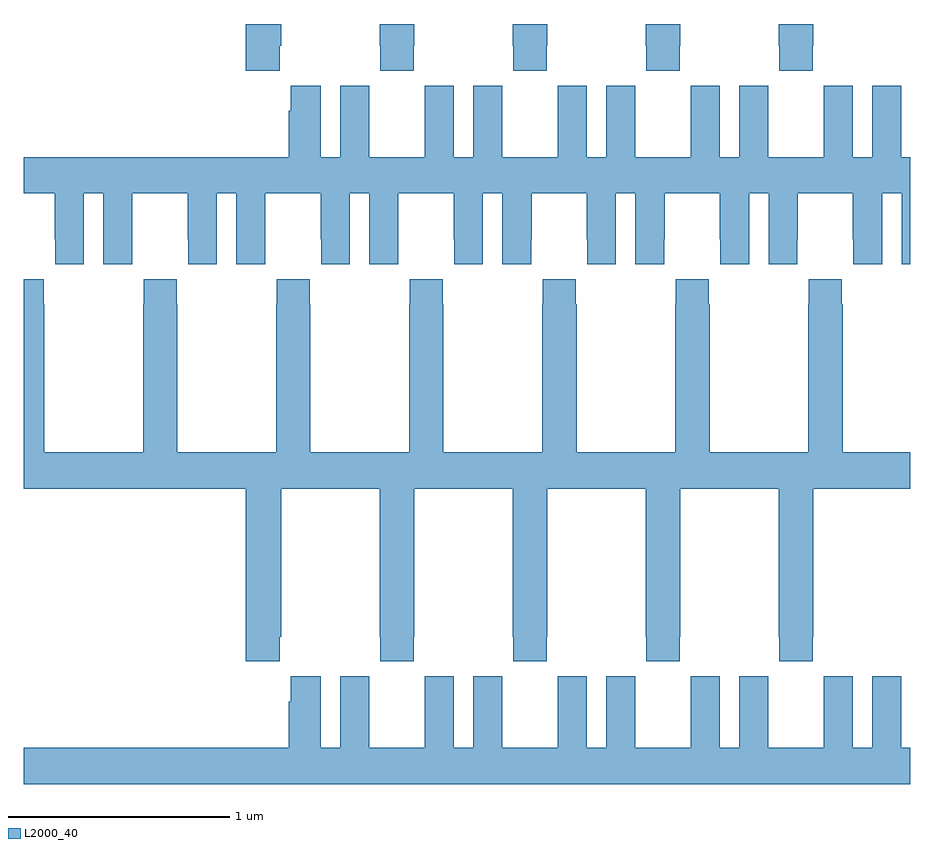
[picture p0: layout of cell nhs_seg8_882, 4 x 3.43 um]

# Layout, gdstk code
import gdstk
lib = gdstk.Library(unit=1e-6, precision=1e-09)
def P(c, l, *ps):  # polygons
    for p in ps: c.add(gdstk.Polygon(p, *l))
L2000_40 = (2000, 40)

nhs_seg8_882 = lib.new_cell('nhs_seg8_882')
P(nhs_seg8_882, L2000_40, [(169.959,1147.801),(169.962,1147.801),(169.962,1147.9),(169.807,1147.9),(169.807,1147.801),(169.809,1147.801),(169.809,1147.689),(169.959,1147.689)],
  [(170.559,1147.801),(170.562,1147.801),(170.562,1147.9),(170.407,1147.9),(170.407,1147.801),(170.409,1147.801),(170.409,1147.689),(170.559,1147.689)],
  [(168.155,1147.801),(168.162,1147.801),(168.162,1147.9),(168.002,1147.9),(168.002,1147.689),(168.155,1147.689)],
  [(168.759,1147.801),(168.762,1147.801),(168.762,1147.9),(168.607,1147.9),(168.607,1147.801),(168.609,1147.801),(168.609,1147.689),(168.759,1147.689)],
  [(169.359,1147.801),(169.362,1147.801),(169.362,1147.9),(169.207,1147.9),(169.207,1147.801),(169.209,1147.801),(169.209,1147.689),(169.359,1147.689)],
  [(167.272,1147.136),(167.36,1147.136),(167.36,1146.816),(167.49,1146.816),(167.49,1146.928),(167.491,1146.928),(167.491,1147.136),(167.741,1147.136),(167.741,1146.928),(167.742,1146.928),(167.742,1146.816),(167.872,1146.816),(167.872,1147.136),(167.96,1147.136),(167.96,1146.816),(168.09,1146.816),(168.09,1146.928),(168.091,1146.928),(168.091,1147.136),(168.341,1147.136),(168.341,1146.928),(168.342,1146.928),(168.342,1146.816),(168.472,1146.816),(168.472,1147.136),(168.56,1147.136),(168.56,1146.816),(168.69,1146.816),(168.69,1146.928),(168.691,1146.928),(168.691,1147.136),(168.941,1147.136),(168.941,1146.928),(168.942,1146.928),(168.942,1146.816),(169.072,1146.816),(169.072,1147.136),(169.16,1147.136),(169.16,1146.816),(169.29,1146.816),(169.29,1146.928),(169.291,1146.928),(169.291,1147.136),(169.541,1147.136),(169.541,1146.928),(169.542,1146.928),(169.542,1146.816),(169.672,1146.816),(169.672,1147.136),(169.76,1147.136),(169.76,1146.816),(169.89,1146.816),(169.89,1146.928),(169.891,1146.928),(169.891,1147.136),(170.141,1147.136),(170.141,1146.928),(170.142,1146.928),(170.142,1146.816),(170.272,1146.816),(170.272,1147.136),(170.36,1147.136),(170.36,1146.816),(170.49,1146.816),(170.49,1146.928),(170.491,1146.928),(170.491,1147.136),(170.741,1147.136),(170.741,1146.928),(170.742,1146.928),(170.742,1146.816),(170.872,1146.816),(170.872,1147.136),(170.96,1147.136),(170.96,1146.816),(171,1146.816),(171,1147.3),(170.959,1147.3),(170.959,1147.508),(170.958,1147.508),(170.958,1147.621),(170.828,1147.621),(170.828,1147.3),(170.74,1147.3),(170.74,1147.621),(170.61,1147.621),(170.61,1147.508),(170.609,1147.508),(170.609,1147.3),(170.359,1147.3),(170.359,1147.508),(170.358,1147.508),(170.358,1147.621),(170.228,1147.621),(170.228,1147.3),(170.14,1147.3),(170.14,1147.621),(170.01,1147.621),(170.01,1147.508),(170.009,1147.508),(170.009,1147.3),(169.759,1147.3),(169.759,1147.508),(169.758,1147.508),(169.758,1147.621),(169.628,1147.621),(169.628,1147.3),(169.54,1147.3),(169.54,1147.621),(169.41,1147.621),(169.41,1147.508),(169.409,1147.508),(169.409,1147.3),(169.159,1147.3),(169.159,1147.508),(169.158,1147.508),(169.158,1147.621),(169.028,1147.621),(169.028,1147.3),(168.94,1147.3),(168.94,1147.621),(168.81,1147.621),(168.81,1147.508),(168.809,1147.508),(168.809,1147.3),(168.559,1147.3),(168.559,1147.508),(168.558,1147.508),(168.558,1147.621),(168.428,1147.621),(168.428,1147.3),(168.34,1147.3),(168.34,1147.621),(168.206,1147.621),(168.206,1147.508),(168.197,1147.508),(168.197,1147.3),(167,1147.3),(167,1147.136),(167.141,1147.136),(167.141,1146.928),(167.142,1146.928),(167.142,1146.816),(167.272,1146.816)],
  [(169.359,1145.137),(169.362,1145.137),(169.362,1145.804),(169.807,1145.804),(169.807,1145.137),(169.809,1145.137),(169.809,1145.025),(169.959,1145.025),(169.959,1145.137),(169.962,1145.137),(169.962,1145.804),(170.407,1145.804),(170.407,1145.137),(170.409,1145.137),(170.409,1145.025),(170.559,1145.025),(170.559,1145.137),(170.562,1145.137),(170.562,1145.804),(171,1145.804),(171,1145.968),(170.694,1145.968),(170.694,1146.635),(170.691,1146.635),(170.691,1146.748),(170.541,1146.748),(170.541,1146.635),(170.539,1146.635),(170.539,1145.968),(170.094,1145.968),(170.094,1146.635),(170.091,1146.635),(170.091,1146.748),(169.941,1146.748),(169.941,1146.635),(169.939,1146.635),(169.939,1145.968),(169.494,1145.968),(169.494,1146.635),(169.491,1146.635),(169.491,1146.748),(169.341,1146.748),(169.341,1146.635),(169.339,1146.635),(169.339,1145.968),(168.894,1145.968),(168.894,1146.635),(168.891,1146.635),(168.891,1146.748),(168.741,1146.748),(168.741,1146.635),(168.739,1146.635),(168.739,1145.968),(168.294,1145.968),(168.294,1146.635),(168.291,1146.635),(168.291,1146.748),(168.141,1146.748),(168.141,1146.635),(168.139,1146.635),(168.139,1145.968),(167.694,1145.968),(167.694,1146.635),(167.691,1146.635),(167.691,1146.748),(167.541,1146.748),(167.541,1146.635),(167.539,1146.635),(167.539,1145.968),(167.094,1145.968),(167.094,1146.635),(167.091,1146.635),(167.091,1146.748),(167,1146.748),(167,1145.804),(168.002,1145.804),(168.002,1145.025),(168.155,1145.025),(168.155,1145.137),(168.162,1145.137),(168.162,1145.804),(168.607,1145.804),(168.607,1145.137),(168.609,1145.137),(168.609,1145.025),(168.759,1145.025),(168.759,1145.137),(168.762,1145.137),(168.762,1145.804),(169.207,1145.804),(169.207,1145.137),(169.209,1145.137),(169.209,1145.025),(169.359,1145.025)],
  [(168.428,1144.957),(168.428,1144.636),(168.34,1144.636),(168.34,1144.957),(168.206,1144.957),(168.206,1144.844),(168.197,1144.844),(168.197,1144.636),(167,1144.636),(167,1144.472),(171,1144.472),(171,1144.636),(170.959,1144.636),(170.959,1144.844),(170.958,1144.844),(170.958,1144.957),(170.828,1144.957),(170.828,1144.636),(170.74,1144.636),(170.74,1144.957),(170.61,1144.957),(170.61,1144.844),(170.609,1144.844),(170.609,1144.636),(170.359,1144.636),(170.359,1144.844),(170.358,1144.844),(170.358,1144.957),(170.228,1144.957),(170.228,1144.636),(170.14,1144.636),(170.14,1144.957),(170.01,1144.957),(170.01,1144.844),(170.009,1144.844),(170.009,1144.636),(169.759,1144.636),(169.759,1144.844),(169.758,1144.844),(169.758,1144.957),(169.628,1144.957),(169.628,1144.636),(169.54,1144.636),(169.54,1144.957),(169.41,1144.957),(169.41,1144.844),(169.409,1144.844),(169.409,1144.636),(169.159,1144.636),(169.159,1144.844),(169.158,1144.844),(169.158,1144.957),(169.028,1144.957),(169.028,1144.636),(168.94,1144.636),(168.94,1144.957),(168.81,1144.957),(168.81,1144.844),(168.809,1144.844),(168.809,1144.636),(168.559,1144.636),(168.559,1144.844),(168.558,1144.844),(168.558,1144.957)])

lib.write_gds('nhs_seg8_882.gds')
